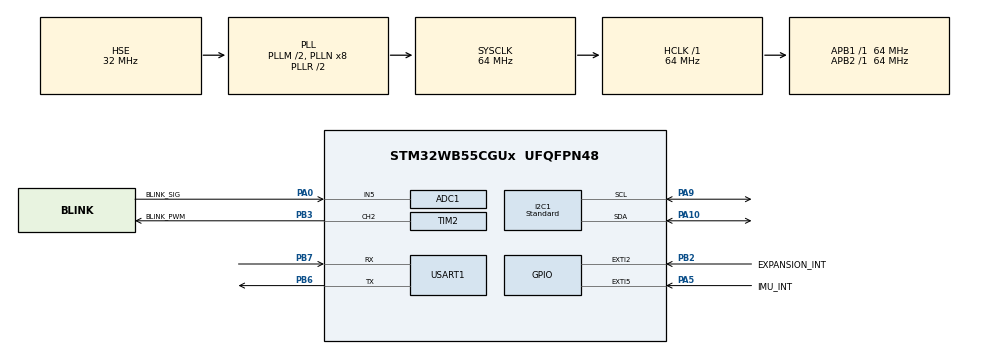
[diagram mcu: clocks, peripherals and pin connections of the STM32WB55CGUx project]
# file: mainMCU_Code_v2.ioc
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ADC1.Channel-3\#ChannelRegularConversion=ADC_CHANNEL_5
ADC1.ClockPrescaler=ADC_CLOCK_ASYNC_DIV4
ADC1.ContinuousConvMode=ENABLE
ADC1.DMAContinuousRequests=ENABLE
ADC1.ExternalTrigConv=ADC_SOFTWARE_START
ADC1.NbrOfConversion=1
ADC1.NbrOfConversionFlag=1
ADC1.OffsetNumber-3\#ChannelRegularConversion=ADC_OFFSET_NONE
ADC1.Overrun=ADC_OVR_DATA_PRESERVED
ADC1.Rank-3\#ChannelRegularConversion=1
ADC1.Resolution=ADC_RESOLUTION_8B
ADC1.SamplingTime-3\#ChannelRegularConversion=ADC_SAMPLETIME_247CYCLES_5
ADC1.master=1
Dma.ADC1.0.Direction=DMA_PERIPH_TO_MEMORY
Dma.ADC1.0.EventEnable=DISABLE
Dma.ADC1.0.Instance=DMA1_Channel1
Dma.ADC1.0.MemDataAlignment=DMA_MDATAALIGN_BYTE
Dma.ADC1.0.MemInc=DMA_MINC_ENABLE
Dma.ADC1.0.Mode=DMA_CIRCULAR
Dma.ADC1.0.PeriphDataAlignment=DMA_PDATAALIGN_BYTE
Dma.ADC1.0.PeriphInc=DMA_PINC_DISABLE
Dma.ADC1.0.Polarity=HAL_DMAMUX_REQ_GEN_RISING
Dma.ADC1.0.Priority=DMA_PRIORITY_HIGH
Dma.ADC1.0.RequestNumber=1
Dma.ADC1.0.SignalID=NONE
Dma.ADC1.0.SyncEnable=DISABLE
Dma.ADC1.0.SyncPolarity=HAL_DMAMUX_SYNC_NO_EVENT
Dma.ADC1.0.SyncRequestNumber=1
Dma.ADC1.0.SyncSignalID=NONE
Dma.Request0=ADC1
FREERTOS.Tasks01=defaultTask,24,128,StartDefaultTask,Default,NULL,Dynamic,NULL,NULL
FREERTOS.configTOTAL_HEAP_SIZE=10000
FREERTOS.configUSE_TICKLESS_IDLE=2
I2C1.I2C_Fall_Time=200
I2C1.I2C_Rise_Time=200
I2C1.I2C_Speed_Mode=I2C_Standard
I2C1.Timing=0x10E47DAF
Mcu.Family=STM32WB
Mcu.Name=STM32WB55CGUx
Mcu.Package=UFQFPN48
NVIC.ADC1_IRQn=true\:5\:0\:false\:false\:true\:true\:true\:true
NVIC.C2SEV_PWR_C2H_IRQn=true\:5\:0\:false\:false\:true\:true\:true\:false
NVIC.DMA1_Channel1_IRQn=true\:0\:0\:false\:false\:true\:false\:false\:true
NVIC.I2C1_EV_IRQn=true\:5\:0\:false\:false\:true\:true\:true\:true
NVIC.PWR_SOTF_BLEACT_802ACT_RFPHASE_IRQn=true\:5\:0\:false\:false\:true\:true\:true\:false
NVIC.PriorityGroup=NVIC_PRIORITYGROUP_4
NVIC.TIM1_UP_TIM16_IRQn=true\:0\:0\:false\:false\:true\:false\:false\:true
NVIC.TimeBase=TIM1_UP_TIM16_IRQn
NVIC.TimeBaseIP=TIM1
OSC_IN.Mode=HSE-External-Oscillator
OSC_IN.Signal=RCC_OSC_IN
OSC_OUT.Mode=HSE-External-Oscillator
OSC_OUT.Signal=RCC_OSC_OUT
PA0.GPIO_Label=BLINK_SIG
PA0.Signal=ADCx_IN5
PA10.GPIO_PuPdOD=GPIO_NOPULL
PA10.Mode=I2C
PA10.Signal=I2C1_SDA
PA13.Mode=Serial_Wire
PA13.Signal=SYS_JTMS-SWDIO
PA14.Mode=Serial_Wire
PA14.Signal=SYS_JTCK-SWCLK
PA5.GPIO_Label=IMU_INT
PA5.Signal=GPXTI5
PA9.GPIO_PuPdOD=GPIO_NOPULL
PA9.Mode=I2C
PA9.Signal=I2C1_SCL
PB2.GPIO_Label=EXPANSION_INT
PB2.Signal=GPXTI2
PB3.GPIO_Label=BLINK_PWM
PB3.Signal=S_TIM2_CH2
PB6.Mode=Asynchronous
PB6.Signal=USART1_TX
PB7.Mode=Asynchronous
PB7.Signal=USART1_RX
PC14-OSC32_IN.Mode=LSE-External-Oscillator
PC14-OSC32_IN.Signal=RCC_OSC32_IN
PC15-OSC32_OUT.Mode=LSE-External-Oscillator
PC15-OSC32_OUT.Signal=RCC_OSC32_OUT
ProjectManager.HeapSize=0x200
ProjectManager.StackSize=0x400
ProjectManager.TargetToolchain=TrueSTUDIO
RCC.ADCFreq_Value=48000000
RCC.AHB2CLKDivider=RCC_SYSCLK_DIV2
RCC.AHBFreq_Value=64000000
RCC.APB1Freq_Value=64000000
RCC.APB1TimFreq_Value=64000000
RCC.APB2Freq_Value=64000000
RCC.APB2TimFreq_Value=64000000
RCC.APB3Freq_Value=16000000
RCC.CortexFreq_Value=64000000
RCC.HCLKFreq_Value=64000000
RCC.HSE_VALUE=32000000
RCC.HSI48_VALUE=48000000
RCC.HSI_VALUE=16000000
RCC.PLLM=RCC_PLLM_DIV2
RCC.PLLSAI1N=6
RCC.PLLSourceVirtual=RCC_PLLSOURCE_HSE
RCC.RTCClockSelection=RCC_RTCCLKSOURCE_LSE
RCC.SMPSCLockSelectionVirtual=RCC_SMPSCLKSOURCE_HSE
RCC.SYSCLKFreq_VALUE=64000000
RCC.SYSCLKSource=RCC_SYSCLKSOURCE_PLLCLK
RCC.USBFreq_Value=48000000
RCC.VCOOutputFreq_Value=128000000
RF1.Mode=RF1_Activate
RF1.Signal=RF_RF1
SH.ADCx_IN5.0=ADC1_IN5,IN5-Single-Ended
SH.S_TIM2_CH2.0=TIM2_CH2,PWM Generation2 CH2
STM32_WPAN.APPLI_CONFIG_LOG_LEVEL=LOG_LEVEL_NONE
STM32_WPAN.CFG_CLI_UART=hw_uart1
STM32_WPAN.CFG_FAST_CONN_ADV_INTERVAL_MAX_HEXA=0x0
STM32_WPAN.CFG_FAST_CONN_ADV_INTERVAL_MIN_HEXA=0x0
STM32_WPAN.CFG_HW_USART1_ENABLED=1
STM32_WPAN.CFG_LP_CONN_ADV_INTERVAL_MAX_HEXA=0x0
STM32_WPAN.CFG_LP_CONN_ADV_INTERVAL_MIN_HEXA=0x0
STM32_WPAN.CHANNEL=26
STM32_WPAN.LOCAL_NAME_FORMATTED=,'0'
STM32_WPAN.PANID=1234
STM32_WPAN.THREAD_APPLICATION=FTD
TIM2.Channel-Output\ Compare4\ No\ Output=TIM_CHANNEL_4
TIM2.Channel-PWM\ Generation2\ CH2=TIM_CHANNEL_2
TIM2.OC4Preload=DISABLE
TIM2.OCMode_4=TIM_OCMODE_TIMING
TIM2.Period=9
TIM2.Prescaler=639
TIM2.Pulse-Output\ Compare4\ No\ Output=7
TIM2.Pulse-PWM\ Generation2\ CH2=7
TIM2.TIM_MasterOutputTrigger=TIM_TRGO_UPDATE
USART1.VirtualMode-Asynchronous=VM_ASYNC
VP_FREERTOS_VS_CMSIS_V2.Mode=CMSIS_V2
VP_HSEM_VS_HSEM.Mode=HSEM_Activate
VP_RTC_VS_RTC_Activate.Mode=RTC_Enabled
VP_STM32_WPAN_VS_THREAD.Mode=STM32_WPAN_Enabled
VP_SYS_VS_tim1.Mode=TIM1
VP_TIM2_VS_ClockSourceINT.Mode=Internal
VP_TIM2_VS_no_output4.Mode=Output Compare4 No Output
VP_TINY_LPM_VS_TINY_LPM.Mode=TINY_LPM_Enabled
board=custom

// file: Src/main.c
/* USER CODE BEGIN Header */
/**
  ******************************************************************************
  * @file           : main.c
  * @brief          : Main program body
  ******************************************************************************
  * @attention
  *
  * <h2><center>&copy; Copyright (c) 2019 STMicroelectronics.
  * All rights reserved.</center></h2>
  *
  * This software component is licensed by ST under Ultimate Liberty license
  * SLA0044, the "License"; You may not use this file except in compliance with
  * the License. You may obtain a copy of the License at:
  *                             www.st.com/SLA0044
  *
  ******************************************************************************
  */
/* USER CODE END Header */

#include "main.h"
#include "cmsis_os.h"
#include "adc.h"
#include "dma.h"
#include "i2c.h"
#include "rf.h"
#include "rtc.h"
#include "app_entry.h"
#include "app_common.h"
#include "tim.h"
#include "usart.h"
#include "gpio.h"

/* USER CODE BEGIN Includes */
//#include "stm32_lpm.h"
//#include "dbg_trace.h"
//#include "hw_conf.h"
//#include "otp.h"

/* USER CODE END Includes */

void SystemClock_Config(void);
void MX_FREERTOS_Init(void);
/* USER CODE BEGIN PFP */
static void Reset_Device( void );
static void Init_Exti( void );
static void Reset_IPCC( void );
static void Reset_BackupDomain( void );
/* USER CODE END PFP */

uint8_t temp[2048] = {0};
int main(void)
{

  /* MCU Configuration--------------------------------------------------------*/

  /* Reset of all peripherals, Initializes the Flash interface and the Systick. */
  HAL_Init();

  /* USER CODE BEGIN Init */
//  Reset_Device();
  /* USER CODE END Init */

  /* Configure the system clock */
  SystemClock_Config();

  /* USER CODE BEGIN SysInit */
//  Init_Exti(); /**< Configure the system Power Mode */
  /* USER CODE END SysInit */

  /* Initialize all configured peripherals */
  MX_GPIO_Init();
  MX_I2C1_Init();
  MX_RTC_Init();
  MX_ADC1_Init();
  MX_TIM2_Init();
  MX_RF_Init();
  MX_USART1_UART_Init();
  MX_DMA_Init();

//  /* Call init function for freertos objects (in freertos.c) */
//  MX_FREERTOS_Init();
//
//  /* Start scheduler */
//  osKernelStart();

  /* We should never get here as control is now taken by the scheduler */

  /* Infinite loop */
  /* USER CODE BEGIN WHILE */

	// start timer and PWM channel for blink LED
//	HAL_TIM_Base_Start(&htim2);
//	HAL_TIM_PWM_Start(&htim2, TIM_CHANNEL_2);
//
//	// start timer for ADC to sample at 1kHz
////			while(HAL_ADC_Start(&hadc1) != HAL_OK);
//	volatile HAL_StatusTypeDef status = 0;
//	if(HAL_ADCEx_Calibration_Start(&hadc1, ADC_SINGLE_ENDED) != HAL_OK);
//	if(HAL_ADC_Start_DMA(&hadc1, (uint32_t*) temp, 2048) != HAL_OK);
	HAL_TIM_Base_Start(&htim2);
	HAL_TIM_PWM_Start(&htim2, TIM_CHANNEL_2);
	HAL_ADC_Start_DMA(&hadc1, (uint32_t *) temp, sizeof(temp));
//  start_cpp(); //this never gets called because of kernel but leaving here in case we remove FreeRTOS in the future
  while (1)
  {
//	  status = HAL_TIMEOUT;
//	  status = temp[0];

    /* USER CODE END WHILE */

  }
}

void SystemClock_Config(void)
{
  RCC_OscInitTypeDef RCC_OscInitStruct = {0};
  RCC_ClkInitTypeDef RCC_ClkInitStruct = {0};
  RCC_PeriphCLKInitTypeDef PeriphClkInitStruct = {0};

  /** Configure LSE Drive Capability
  */
  __HAL_RCC_LSEDRIVE_CONFIG(RCC_LSEDRIVE_LOW);
  /** Configure the main internal regulator output voltage
  */
  __HAL_PWR_VOLTAGESCALING_CONFIG(PWR_REGULATOR_VOLTAGE_SCALE1);
  /** Initializes the CPU, AHB and APB busses clocks
  */
  RCC_OscInitStruct.OscillatorType = RCC_OSCILLATORTYPE_HSI|RCC_OSCILLATORTYPE_LSI1
                              |RCC_OSCILLATORTYPE_HSE|RCC_OSCILLATORTYPE_LSE;
  RCC_OscInitStruct.HSEState = RCC_HSE_ON;
  RCC_OscInitStruct.LSEState = RCC_LSE_ON;
  RCC_OscInitStruct.HSIState = RCC_HSI_ON;
  RCC_OscInitStruct.HSICalibrationValue = RCC_HSICALIBRATION_DEFAULT;
  RCC_OscInitStruct.LSIState = RCC_LSI_ON;
  RCC_OscInitStruct.PLL.PLLState = RCC_PLL_ON;
  RCC_OscInitStruct.PLL.PLLSource = RCC_PLLSOURCE_HSE;
  RCC_OscInitStruct.PLL.PLLM = RCC_PLLM_DIV2;
  RCC_OscInitStruct.PLL.PLLN = 8;
  RCC_OscInitStruct.PLL.PLLP = RCC_PLLP_DIV2;
  RCC_OscInitStruct.PLL.PLLR = RCC_PLLR_DIV2;
  RCC_OscInitStruct.PLL.PLLQ = RCC_PLLQ_DIV2;
  if (HAL_RCC_OscConfig(&RCC_OscInitStruct) != HAL_OK)
  {
    Error_Handler();
  }
  /** Configure the SYSCLKSource, HCLK, PCLK1 and PCLK2 clocks dividers
  */
  RCC_ClkInitStruct.ClockType = RCC_CLOCKTYPE_HCLK4|RCC_CLOCKTYPE_HCLK2
                              |RCC_CLOCKTYPE_HCLK|RCC_CLOCKTYPE_SYSCLK
                              |RCC_CLOCKTYPE_PCLK1|RCC_CLOCKTYPE_PCLK2;
  RCC_ClkInitStruct.SYSCLKSource = RCC_SYSCLKSOURCE_PLLCLK;
  RCC_ClkInitStruct.AHBCLKDivider = RCC_SYSCLK_DIV1;
  RCC_ClkInitStruct.APB1CLKDivider = RCC_HCLK_DIV1;
  RCC_ClkInitStruct.APB2CLKDivider = RCC_HCLK_DIV1;
  RCC_ClkInitStruct.AHBCLK2Divider = RCC_SYSCLK_DIV2;
  RCC_ClkInitStruct.AHBCLK4Divider = RCC_SYSCLK_DIV1;

  if (HAL_RCC_ClockConfig(&RCC_ClkInitStruct, FLASH_LATENCY_3) != HAL_OK)
  {
    Error_Handler();
  }
  /** Initializes the peripherals clocks
  */
  PeriphClkInitStruct.PeriphClockSelection = RCC_PERIPHCLK_SMPS|RCC_PERIPHCLK_RFWAKEUP
                              |RCC_PERIPHCLK_RTC|RCC_PERIPHCLK_USART1
                              |RCC_PERIPHCLK_I2C1|RCC_PERIPHCLK_ADC;
  PeriphClkInitStruct.PLLSAI1.PLLN = 6;
  PeriphClkInitStruct.PLLSAI1.PLLP = RCC_PLLP_DIV2;
  PeriphClkInitStruct.PLLSAI1.PLLQ = RCC_PLLQ_DIV2;
  PeriphClkInitStruct.PLLSAI1.PLLR = RCC_PLLR_DIV2;
  PeriphClkInitStruct.PLLSAI1.PLLSAI1ClockOut = RCC_PLLSAI1_ADCCLK;
  PeriphClkInitStruct.Usart1ClockSelection = RCC_USART1CLKSOURCE_PCLK2;
  PeriphClkInitStruct.I2c1ClockSelection = RCC_I2C1CLKSOURCE_PCLK1;
  PeriphClkInitStruct.AdcClockSelection = RCC_ADCCLKSOURCE_PLLSAI1;
  PeriphClkInitStruct.RTCClockSelection = RCC_RTCCLKSOURCE_LSE;
  PeriphClkInitStruct.RFWakeUpClockSelection = RCC_RFWKPCLKSOURCE_LSI;
  PeriphClkInitStruct.SmpsClockSelection = RCC_SMPSCLKSOURCE_HSE;
  PeriphClkInitStruct.SmpsDivSelection = RCC_SMPSCLKDIV_RANGE0;

  if (HAL_RCCEx_PeriphCLKConfig(&PeriphClkInitStruct) != HAL_OK)
  {
    Error_Handler();
  }
}

/* USER CODE BEGIN 4 */
volatile uint8_t i = 0;

void HAL_ADC_ErrorCallback(ADC_HandleTypeDef *hadc)
{
  i++;
}

void HAL_ADC_ConvCpltCallback(ADC_HandleTypeDef *hadc)
{
  i++;
}

void HAL_ADC_ConvHalfCpltCallback(ADC_HandleTypeDef *hadc)
{
  i++;
}

static void Reset_Device( void )
{
#if ( CFG_HW_RESET_BY_FW == 1 )
  Reset_BackupDomain();

  Reset_IPCC();
#endif

  return;
}

static void Init_Exti( void )
{
  /**< Disable all wakeup interrupt on CPU1  except IPCC(36), HSEM(38) */
  LL_EXTI_DisableIT_0_31(~0);
  LL_EXTI_DisableIT_32_63( (~0) & (~(LL_EXTI_LINE_36 | LL_EXTI_LINE_38)) );

  return;
}

static void Reset_IPCC( void )
{
  LL_AHB3_GRP1_EnableClock(LL_AHB3_GRP1_PERIPH_IPCC);

  LL_C1_IPCC_ClearFlag_CHx(
      IPCC,
      LL_IPCC_CHANNEL_1 | LL_IPCC_CHANNEL_2 | LL_IPCC_CHANNEL_3 | LL_IPCC_CHANNEL_4
      | LL_IPCC_CHANNEL_5 | LL_IPCC_CHANNEL_6);

  LL_C2_IPCC_ClearFlag_CHx(
      IPCC,
      LL_IPCC_CHANNEL_1 | LL_IPCC_CHANNEL_2 | LL_IPCC_CHANNEL_3 | LL_IPCC_CHANNEL_4
      | LL_IPCC_CHANNEL_5 | LL_IPCC_CHANNEL_6);

  LL_C1_IPCC_DisableTransmitChannel(
      IPCC,
      LL_IPCC_CHANNEL_1 | LL_IPCC_CHANNEL_2 | LL_IPCC_CHANNEL_3 | LL_IPCC_CHANNEL_4
      | LL_IPCC_CHANNEL_5 | LL_IPCC_CHANNEL_6);

  LL_C2_IPCC_DisableTransmitChannel(
      IPCC,
      LL_IPCC_CHANNEL_1 | LL_IPCC_CHANNEL_2 | LL_IPCC_CHANNEL_3 | LL_IPCC_CHANNEL_4
      | LL_IPCC_CHANNEL_5 | LL_IPCC_CHANNEL_6);

  LL_C1_IPCC_DisableReceiveChannel(
      IPCC,
      LL_IPCC_CHANNEL_1 | LL_IPCC_CHANNEL_2 | LL_IPCC_CHANNEL_3 | LL_IPCC_CHANNEL_4
      | LL_IPCC_CHANNEL_5 | LL_IPCC_CHANNEL_6);

  LL_C2_IPCC_DisableReceiveChannel(
      IPCC,
      LL_IPCC_CHANNEL_1 | LL_IPCC_CHANNEL_2 | LL_IPCC_CHANNEL_3 | LL_IPCC_CHANNEL_4
      | LL_IPCC_CHANNEL_5 | LL_IPCC_CHANNEL_6);

  return;
}

static void Reset_BackupDomain( void )
{
  if ((LL_RCC_IsActiveFlag_PINRST() != FALSE) && (LL_RCC_IsActiveFlag_SFTRST() == FALSE))
  {
    HAL_PWR_EnableBkUpAccess(); /**< Enable access to the RTC registers */

    /**
     *  Write twice the value to flush the APB-AHB bridge
     *  This bit shall be written in the register before writing the next one
     */
    HAL_PWR_EnableBkUpAccess();

    __HAL_RCC_BACKUPRESET_FORCE();
    __HAL_RCC_BACKUPRESET_RELEASE();
  }

  return;
}

/* USER CODE END 4 */

void HAL_TIM_PeriodElapsedCallback(TIM_HandleTypeDef *htim)
{
  if (htim->Instance == TIM1) {
    HAL_IncTick();
  }
}

void Error_Handler(void)
{
}

/************************ (C) COPYRIGHT STMicroelectronics *****END OF FILE****/
